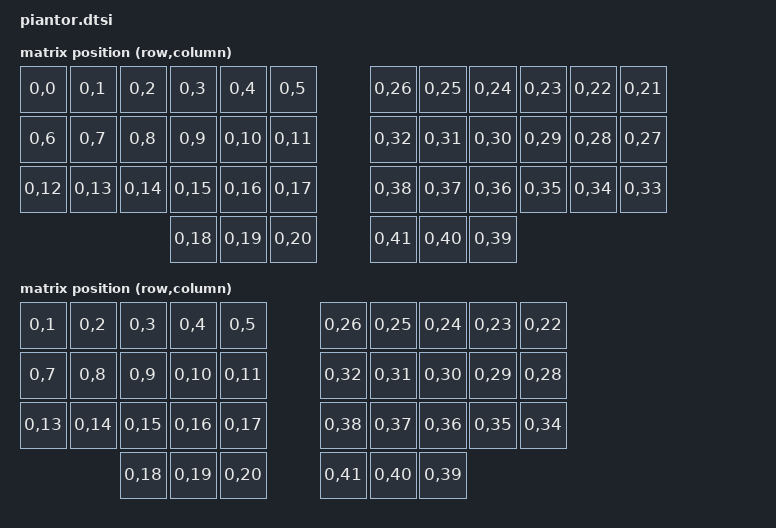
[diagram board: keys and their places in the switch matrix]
/*
 * Copyright (c) 2026 The ZMK Contributors
 *
 * SPDX-License-Identifier: MIT
 */

#include <dt-bindings/zmk/matrix_transform.h>

#include <layouts/beekeeb/piantor/5column.dtsi>
#include <layouts/beekeeb/piantor/6column.dtsi>

&beekeeb_piantor_6col_layout {
    transform = <&default_transform>;
};

&beekeeb_piantor_5col_layout {
    transform = <&five_column_transform>;
};

&pico_serial {
    status = "okay";
};

/ {
    chosen {
        zmk,kscan = &kscan0;
        zmk,physical-layout = &beekeeb_piantor_6col_layout;
    };

    wired_split {
        compatible = "zmk,wired-split";
        device = <&pico_serial>;
    };

    // Each half is a direct-pin kscan of 21 keys, listed row by row from the
    // outer (pinky) column inwards, followed by the thumbs from outer to inner.
    default_transform: keymap_transform_0 {
        compatible = "zmk,matrix-transform";
        columns = <42>;
        rows = <1>;
        map = <
RC(0,0)  RC(0,1)  RC(0,2)  RC(0,3)  RC(0,4)  RC(0,5)    RC(0,26) RC(0,25) RC(0,24) RC(0,23) RC(0,22) RC(0,21)
RC(0,6)  RC(0,7)  RC(0,8)  RC(0,9)  RC(0,10) RC(0,11)   RC(0,32) RC(0,31) RC(0,30) RC(0,29) RC(0,28) RC(0,27)
RC(0,12) RC(0,13) RC(0,14) RC(0,15) RC(0,16) RC(0,17)   RC(0,38) RC(0,37) RC(0,36) RC(0,35) RC(0,34) RC(0,33)
                           RC(0,18) RC(0,19) RC(0,20)   RC(0,41) RC(0,40) RC(0,39)
        >;
    };

    five_column_transform: keymap_transform_1 {
        compatible = "zmk,matrix-transform";
        columns = <42>;
        rows = <1>;
        map = <
RC(0,1)  RC(0,2)  RC(0,3)  RC(0,4)  RC(0,5)    RC(0,26) RC(0,25) RC(0,24) RC(0,23) RC(0,22)
RC(0,7)  RC(0,8)  RC(0,9)  RC(0,10) RC(0,11)   RC(0,32) RC(0,31) RC(0,30) RC(0,29) RC(0,28)
RC(0,13) RC(0,14) RC(0,15) RC(0,16) RC(0,17)   RC(0,38) RC(0,37) RC(0,36) RC(0,35) RC(0,34)
                  RC(0,18) RC(0,19) RC(0,20)   RC(0,41) RC(0,40) RC(0,39)
        >;
    };

    kscan0: kscan {
        compatible = "zmk,kscan-gpio-direct";
        wakeup-source;
    };
};
